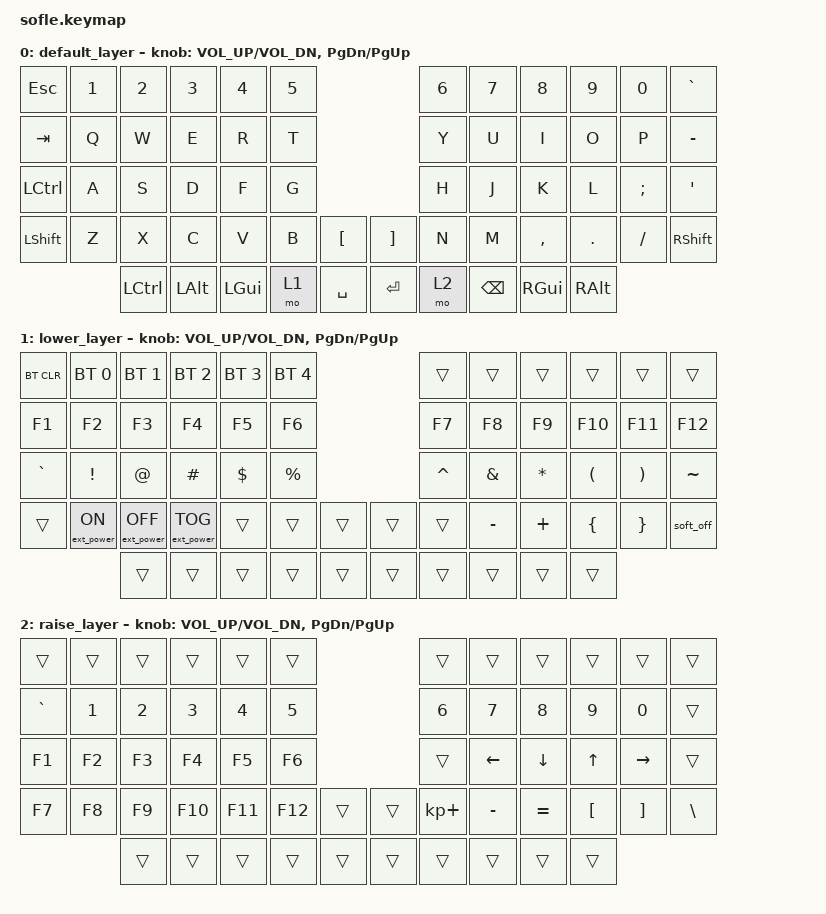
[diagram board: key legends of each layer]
/*
 * Copyright (c) 2023 The ZMK Contributors
 *
 * SPDX-License-Identifier: MIT
 */

#include <behaviors.dtsi>
#include <dt-bindings/zmk/keys.h>
#include <dt-bindings/zmk/bt.h>
#include <dt-bindings/zmk/ext_power.h>

/ {
    keymap {
        compatible = "zmk,keymap";

        default_layer {
            bindings = <
// ╭─────────┬────────┬────────┬────────┬────────┬────────╮                    ╭────────┬────────┬────────┬────────┬────────┬─────────╮
    &kp ESC   &kp N1   &kp N2   &kp N3   &kp N4   &kp N5                        &kp N6   &kp N7   &kp N8   &kp N9   &kp N0   &kp GRAVE
// ├─────────┼────────┼────────┼────────┼────────┼────────┤                    ├────────┼────────┼────────┼────────┼────────┼─────────┤
    &kp TAB   &kp Q    &kp W    &kp E    &kp R    &kp T                         &kp Y    &kp U    &kp I    &kp O    &kp P    &kp MINUS
// ├─────────┼────────┼────────┼────────┼────────┼────────┤                    ├────────┼────────┼────────┼────────┼────────┼─────────┤
    &kp LCTRL &kp A    &kp S    &kp D    &kp F    &kp G                         &kp H    &kp J    &kp K    &kp L    &kp SEMI &kp SQT
// ├─────────┼────────┼────────┼────────┼────────┼────────┼────────╮  ╭────────┼────────┼────────┼────────┼────────┼────────┼─────────┤
    &kp LSHFT &kp Z    &kp X    &kp C    &kp V    &kp B    &kp LBKT   &kp RBKT  &kp N    &kp M    &kp COMMA &kp DOT &kp FSLH &kp RSHFT
// ╰─────────┴────────┼────────┼────────┼────────┼────────┼────────┤  ├────────┼────────┼────────┼────────┼────────┼────────┴─────────╯
                       &kp LCTRL &kp LALT &kp LGUI &mo 1   &kp SPACE  &kp RET   &mo 2   &kp BSPC &kp RGUI &kp RALT
//                    ╰────────┴────────┴────────┴────────┴────────╯  ╰────────┴────────┴────────┴────────┴────────╯
            >;
            sensor-bindings = <&inc_dec_kp C_VOL_UP C_VOL_DN>, <&inc_dec_kp PG_DN PG_UP>;
        };

        lower_layer {
            bindings = <
// ╭──────────┬─────────────┬─────────────┬─────────────┬─────────────┬─────────────╮                    ╭────────┬────────┬────────┬────────┬────────┬────────╮
    &bt BT_CLR  &bt BT_SEL 0  &bt BT_SEL 1  &bt BT_SEL 2  &bt BT_SEL 3  &bt BT_SEL 4                      &trans   &trans   &trans   &trans   &trans   &trans
// ├──────────┼─────────────┼─────────────┼─────────────┼─────────────┼─────────────┤                    ├────────┼────────┼────────┼────────┼────────┼────────┤
    &kp F1      &kp F2        &kp F3        &kp F4        &kp F5        &kp F6                              &kp F7   &kp F8   &kp F9   &kp F10  &kp F11  &kp F12
// ├──────────┼─────────────┼─────────────┼─────────────┼─────────────┼─────────────┤                    ├────────┼────────┼────────┼────────┼────────┼────────┤
    &kp GRAVE   &kp EXCL      &kp AT        &kp HASH      &kp DOLLAR    &kp PRCNT                           &kp CARET &kp AMPS &kp STAR &kp LPAR &kp RPAR &kp TILDE
// ├──────────┼─────────────┼─────────────┼─────────────┼─────────────┼─────────────┼────────╮  ╭────────┼────────┼────────┼────────┼────────┼────────┼─────────┤
    &trans      &ext_power EP_ON &ext_power EP_OFF &ext_power EP_TOG &trans &trans    &trans      &trans    &trans   &kp MINUS &kp PLUS &kp LBRC &kp RBRC &soft_off
// ╰──────────┴─────────────┼─────────────┼─────────────┼─────────────┼─────────────┼────────┤  ├────────┼────────┼────────┼────────┼────────┼────────┴─────────╯
                              &trans        &trans        &trans        &trans        &trans      &trans    &trans   &trans   &trans   &trans
//                           ╰─────────────┴─────────────┴─────────────┴─────────────┴────────╯  ╰────────┴────────┴────────┴────────┴────────╯
            >;
            sensor-bindings = <&inc_dec_kp C_VOL_UP C_VOL_DN>, <&inc_dec_kp PG_DN PG_UP>;
        };

        raise_layer {
            bindings = <
// ╭────────┬────────┬────────┬────────┬────────┬────────╮                    ╭────────────┬────────┬────────┬────────┬──────────┬────────╮
    &trans    &trans   &trans   &trans   &trans   &trans                         &trans       &trans   &trans   &trans   &trans     &trans
// ├────────┼────────┼────────┼────────┼────────┼────────┤                    ├────────────┼────────┼────────┼────────┼──────────┼────────┤
    &kp GRAVE &kp N1   &kp N2   &kp N3   &kp N4   &kp N5                         &kp N6       &kp N7   &kp N8   &kp N9   &kp N0     &trans
// ├────────┼────────┼────────┼────────┼────────┼────────┤                    ├────────────┼────────┼────────┼────────┼──────────┼────────┤
    &kp F1    &kp F2   &kp F3   &kp F4   &kp F5   &kp F6                         &trans       &kp LEFT &kp DOWN &kp UP   &kp RIGHT  &trans
// ├────────┼────────┼────────┼────────┼────────┼────────┼────────╮  ╭────────┼────────────┼────────┼────────┼────────┼──────────┼────────┤
    &kp F7    &kp F8   &kp F9   &kp F10  &kp F11  &kp F12  &trans     &trans    &kp KP_PLUS  &kp MINUS &kp EQUAL &kp LBKT &kp RBKT  &kp BSLH
// ╰────────┴────────┼────────┼────────┼────────┼────────┼────────┤  ├────────┼────────────┼────────┼────────┼────────┼──────────┴────────╯
                       &trans   &trans   &trans   &trans   &trans     &trans    &trans       &trans   &trans   &trans
//                   ╰────────┴────────┴────────┴────────┴────────╯  ╰────────┴────────────┴────────┴────────┴────────╯
            >;
            sensor-bindings = <&inc_dec_kp C_VOL_UP C_VOL_DN>, <&inc_dec_kp PG_DN PG_UP>;
        };
    };
};
